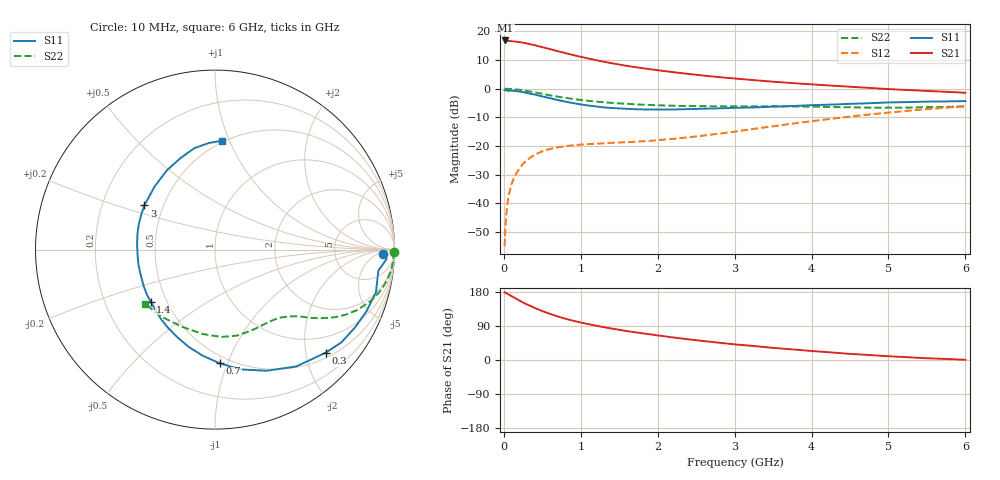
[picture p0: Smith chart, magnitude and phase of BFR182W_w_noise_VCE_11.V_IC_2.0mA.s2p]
! Infineon Technologies  Discrete & RF Semiconductors
! BFR182W
! VCE =  11. V,  IC =  2.0 mA
! Common Emitter S-Parameters:  Jan 2017
# GHz  S  MA  R  50
!  f  S11  S21  S12  S22
! GHz  MAG  ANG  MAG  ANG  MAG  ANG  MAG  ANG
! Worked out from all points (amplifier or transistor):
!   77 points, 10 MHz to 6 GHz, reference 50 ohm
!   highest |S21| = 16.8 dB at 20 MHz (marker M1)
!   |S21| within 3 dB of that: start of sweep to 598.5 MHz
!   unconditionally stable (mu >= 1): 1.776 GHz to 3.127 GHz
!   at 130 MHz: K = 0.08, MSG = 23.9 dB, |S12| = -31.2 dB
!   at 2.2 GHz: K = 1.08, MAG = 9.9 dB, |S12| = -17.5 dB
!   at 6 GHz: K = 0.81, MSG = 2.4 dB, |S12| = -6.1 dB
!   lowest NFmin = 0.85 dB at 450 MHz
!   S11 on the Smith chart (normalised r, x): 10 MHz: 26, -11; 300 MHz: 0.61, -2.41; 700 MHz: 0.44, -0.94; 1.4 GHz: 0.41, -0.30; 3 GHz: 0.39, +0.25; 6 GHz: 0.49, +0.94
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0.01  0.9381 -1.6  6.821 178.8  0.0018 93.0  1 -0.7
0.02  0.9577 -3.1  6.928 177.8  0.0038 96.2  0.9941 -1.4
0.05  0.9178 -7.3  6.814 174.4  0.0106 86.3  0.9958 -3.4
0.1  0.9279 -14.9  6.737 168.7  0.0217 82.7  0.9877 -6.7
0.2  0.8921 -29.2  6.486 157.3  0.0404 73.5  0.9567 -13.0
0.25  0.8735 -36.3  6.348 151.7  0.0491 69.3  0.9361 -15.8
0.3  0.8425 -43.0  6.141 146.7  0.0569 65.7  0.9114 -18.4
0.4  0.7925 -55.3  5.749 137.4  0.0705 59.6  0.8632 -22.9
0.5  0.7332 -67.0  5.302 129.1  0.081 54.6  0.813 -26.5
0.6  0.6831 -77.8  4.899 121.6  0.0894 50.7  0.7673 -29.4
0.7  0.6345 -87.5  4.504 115.0  0.0948 47.7  0.727 -31.6
0.9  0.5609 -105.3  3.86 103.7  0.1031 43.4  0.6621 -35.1
1.1  0.5087 -120.9  3.354 94.6  0.1082 41.6  0.6149 -37.5
1.4  0.4612 -141.1  2.783 83.0  0.1138 41.7  0.5654 -41.1
1.7  0.4391 -158.7  2.383 73.4  0.1186 44.3  0.5342 -44.8
2.1  0.4324 -178.8  2.018 62.3  0.1302 49.4  0.5093 -50.5
2.6  0.448 161.3  1.688 49.9  0.1525 55.8  0.4957 -59.0
3  0.4643 148.0  1.506 41.2  0.1784 59.0  0.4939 -66.0
3.1  0.4664 145.0  1.467 39.5  0.1868 59.4  0.493 -67.9
4.1  0.5206 119.1  1.167 22.3  0.282 58.7  0.4837 -88.3
5.1  0.5791 99.9  0.97 8.9  0.3949 50.3  0.4667 -116.2
6  0.6081 86.3  0.849 0.7  0.4937 39.7  0.4926 -142.0
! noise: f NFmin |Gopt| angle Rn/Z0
0.45  0.85  0.5  30  0.26
0.9  0.99  0.4  58  0.24
1.9  1.74  0.3  142  0.14
2.4  2.11  0.26  164  0.19
